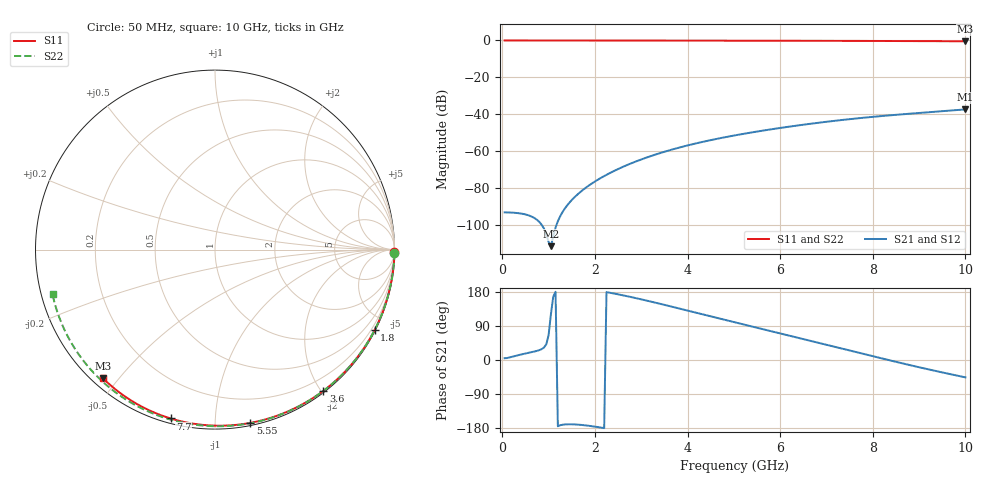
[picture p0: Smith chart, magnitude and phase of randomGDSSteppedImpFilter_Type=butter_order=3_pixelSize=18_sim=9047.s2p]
! freq	dB(S11)	phase(S11)	dB(S12)	phase(S12)
!  dB(S21)	phase(S21)	dB(S22)	phase(S22)
!S-par simulation data
#  GHz  S  DB  R 50
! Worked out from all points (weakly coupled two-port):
!   200 points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, 50 MHz to 10 GHz, reference 50 ohm
!   highest |S21| = -37.36 dB at 10 GHz (marker M1); lowest = -111.5 dB at 1.05 GHz (marker M2)
!   lowest |S11| = -0.4 dB at 10 GHz (marker M3), VSWR 39.09, Z = 1.54 - j22.8 ohm
!   |S11| at or under -10 dB: nowhere
!   |S22| runs from -0.5 to 0.0 dB; largest |S21 - S12| = 0
!   S11 on the Smith chart (normalised r, x): 50 MHz: open; 1.8 GHz: 0.04, -4.19; 3.6 GHz: 0.02, -2.03; 5.55 GHz: 0.02, -1.22; 7.7 GHz: 0.02, -0.77; 10 GHz: 0.03, -0.46
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0.05  -0.00 -0.8  -93.19 4.7  -93.19 4.7  -0.00 -1.0
0.55  -0.01 -8.3  -94.65 18.6  -94.65 18.6  -0.01 -10.5
1.05  -0.02 -15.8  -111.50 121.0  -111.50 121.0  -0.02 -19.9
1.75  -0.03 -26.1  -80.83 -171.9  -80.83 -171.9  -0.04 -32.9
1.8  -0.03 -26.9  -79.88 -172.5  -79.88 -172.5  -0.04 -33.8
1.95  -0.04 -29.0  -77.26 -174.9  -77.26 -174.9  -0.05 -36.5
2.1  -0.04 -31.2  -74.92 -177.7  -74.92 -177.7  -0.05 -39.2
2.3  -0.04 -34.1  -72.16 178.0  -72.16 178.0  -0.05 -42.8
2.5  -0.05 -37.0  -69.69 173.3  -69.69 173.3  -0.06 -46.4
2.95  -0.06 -43.4  -64.97 161.5  -64.97 161.5  -0.07 -54.4
3.4  -0.07 -49.7  -61.10 148.6  -61.10 148.6  -0.08 -62.2
3.6  -0.07 -52.5  -59.59 142.6  -59.59 142.6  -0.09 -65.6
4.25  -0.09 -61.4  -55.40 122.8  -55.40 122.8  -0.11 -76.6
5.05  -0.11 -72.0  -51.32 98.6  -51.32 98.6  -0.14 -89.6
5.55  -0.13 -78.4  -49.17 83.7  -49.17 83.7  -0.16 -97.5
6.1  -0.15 -85.4  -47.06 67.4  -47.06 67.4  -0.19 -106.0
6.7  -0.18 -92.8  -45.00 49.4  -45.00 49.4  -0.22 -115.1
7.2  -0.21 -98.8  -43.48 34.3  -43.48 34.3  -0.26 -122.7
7.7  -0.24 -104.8  -42.13 19.1  -42.13 19.1  -0.30 -130.1
8.35  -0.29 -112.3  -40.61 -0.4  -40.61 -0.4  -0.36 -139.7
9.2  -0.36 -122.0  -38.93 -24.7  -38.93 -24.7  -0.45 -152.4
10  -0.44 -131.0  -37.36 -45.8  -37.36 -45.8  -0.55 -164.6
